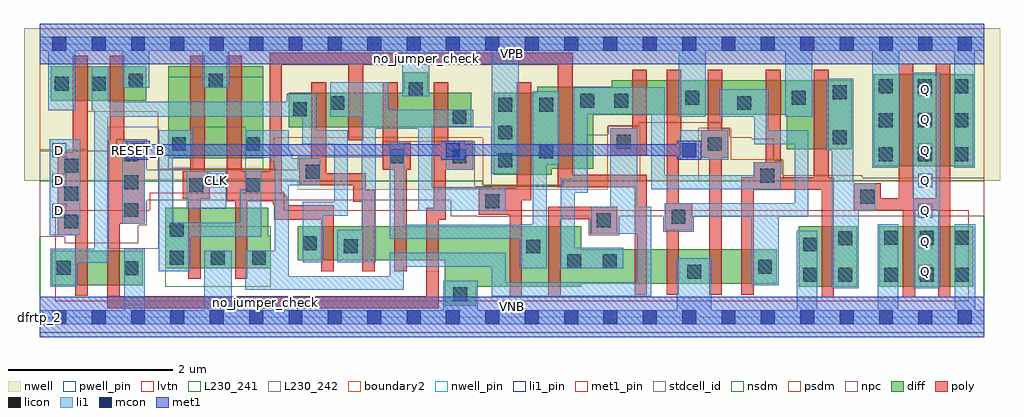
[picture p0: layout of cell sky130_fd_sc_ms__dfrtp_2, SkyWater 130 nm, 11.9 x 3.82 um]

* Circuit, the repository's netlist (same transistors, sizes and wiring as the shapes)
* Copyright 2020 The SkyWater PDK Authors
*
* Licensed under the Apache License, Version 2.0 (the "License");
* you may not use this file except in compliance with the License.
* You may obtain a copy of the License at
*
*     https://www.apache.org/licenses/LICENSE-2.0
*
* Unless required by applicable law or agreed to in writing, software
* distributed under the License is distributed on an "AS IS" BASIS,
* WITHOUT WARRANTIES OR CONDITIONS OF ANY KIND, either express or implied.
* See the License for the specific language governing permissions and
* limitations under the License.
*
* SPDX-License-Identifier: Apache-2.0

.SUBCKT sky130_fd_sc_ms__dfrtp_2 CLK D RESET_B VGND VNB VPB VPWR Q
*.PININFO CLK:I D:I RESET_B:I VGND:I VNB:I VPB:I VPWR:I Q:O
MI46 clkpos clkneg VGND VNB sky130_fd_pr__nfet_01v8_lvt m=1 w=0.74U l=0.15U mult=1
+ sa=0.265 sb=0.265 sd=0.28 area=0.063 perim=1.14
MI42 db clkneg M0 VNB sky130_fd_pr__nfet_01v8_lvt m=1 w=0.42U l=0.15U mult=1 sa=0.265
+ sb=0.265 sd=0.28 area=0.063 perim=1.14
MI656 net108 s0 net74 VNB sky130_fd_pr__nfet_01v8_lvt m=1 w=0.42U l=0.15U mult=1
+ sa=0.265 sb=0.265 sd=0.28 area=0.063 perim=1.14
MI657 net74 RESET_B VGND VNB sky130_fd_pr__nfet_01v8_lvt m=1 w=0.42U l=0.15U mult=1
+ sa=0.265 sb=0.265 sd=0.28 area=0.063 perim=1.14
MI33 net83 RESET_B VGND VNB sky130_fd_pr__nfet_01v8_lvt m=1 w=0.42U l=0.15U mult=1
+ sa=0.265 sb=0.265 sd=0.28 area=0.063 perim=1.14
MI4 M0 clkpos net91 VNB sky130_fd_pr__nfet_01v8_lvt m=1 w=0.42U l=0.15U mult=1
+ sa=0.265 sb=0.265 sd=0.28 area=0.063 perim=1.14
MI34 net91 M1 net83 VNB sky130_fd_pr__nfet_01v8_lvt m=1 w=0.42U l=0.15U mult=1
+ sa=0.265 sb=0.265 sd=0.28 area=0.063 perim=1.14
MI655 s0 clkneg net107 VNB sky130_fd_pr__nfet_01v8_lvt m=1 w=0.42U l=0.15U mult=1
+ sa=0.265 sb=0.265 sd=0.28 area=0.063 perim=1.14
MI652 net167 s0 VGND VNB sky130_fd_pr__nfet_01v8_lvt m=1 w=0.74U l=0.15U mult=1
+ sa=0.265 sb=0.265 sd=0.28 area=0.063 perim=1.14
MI653 Q net167 VGND VNB sky130_fd_pr__nfet_01v8_lvt m=2 w=0.74U l=0.15U mult=1
+ sa=0.265 sb=0.265 sd=0.28 area=0.063 perim=1.14
MI654 net107 net108 VGND VNB sky130_fd_pr__nfet_01v8_lvt m=1 w=0.42U l=0.15U mult=1
+ sa=0.265 sb=0.265 sd=0.28 area=0.063 perim=1.14
MI44 clkneg CLK VGND VNB sky130_fd_pr__nfet_01v8_lvt m=1 w=0.74U l=0.15U mult=1
+ sa=0.265 sb=0.265 sd=0.28 area=0.063 perim=1.14
MI647 M1 M0 VGND VNB sky130_fd_pr__nfet_01v8_lvt m=1 w=0.74U l=0.15U mult=1 sa=0.265
+ sb=0.265 sd=0.28 area=0.063 perim=1.14
MI39 db D net123 VNB sky130_fd_pr__nfet_01v8_lvt m=1 w=0.42U l=0.15U mult=1 sa=0.265
+ sb=0.265 sd=0.28 area=0.063 perim=1.14
MI38 net123 RESET_B VGND VNB sky130_fd_pr__nfet_01v8_lvt m=1 w=0.42U l=0.15U mult=1
+ sa=0.265 sb=0.265 sd=0.28 area=0.063 perim=1.14
MI649 M1 clkpos s0 VNB sky130_fd_pr__nfet_01v8_lvt m=1 w=0.74U l=0.15U mult=1 sa=0.265
+ sb=0.265 sd=0.28 area=0.063 perim=1.14
MI47 clkpos clkneg VPWR VPB sky130_fd_pr__pfet_01v8 m=1 w=1.12U l=0.18U mult=1
+ sa=0.265 sb=0.265 sd=0.28 area=0.063 perim=1.14
MI43 db clkpos M0 VPB sky130_fd_pr__pfet_01v8 m=1 w=0.42U l=0.18U mult=1 sa=0.265
+ sb=0.265 sd=0.28 area=0.063 perim=1.14
MI662 net139 net108 VPWR VPB sky130_fd_pr__pfet_01v8 m=1 w=0.42U l=0.18U mult=1
+ sa=0.265 sb=0.265 sd=0.28 area=0.063 perim=1.14
MI659 net108 RESET_B VPWR VPB sky130_fd_pr__pfet_01v8 m=1 w=0.42U l=0.18U mult=1
+ sa=0.265 sb=0.265 sd=0.28 area=0.063 perim=1.14
MI664 s0 clkpos net139 VPB sky130_fd_pr__pfet_01v8 m=1 w=0.42U l=0.18U mult=1 sa=0.265
+ sb=0.265 sd=0.28 area=0.063 perim=1.14
MI658 net108 s0 VPWR VPB sky130_fd_pr__pfet_01v8 m=1 w=0.42U l=0.18U mult=1 sa=0.265
+ sb=0.265 sd=0.28 area=0.063 perim=1.14
MI30 net158 M1 VPWR VPB sky130_fd_pr__pfet_01v8 m=1 w=0.42U l=0.18U mult=1 sa=0.265
+ sb=0.265 sd=0.28 area=0.063 perim=1.14
MI31 M0 clkneg net158 VPB sky130_fd_pr__pfet_01v8 m=1 w=0.42U l=0.18U mult=1 sa=0.265
+ sb=0.265 sd=0.28 area=0.063 perim=1.14
MI32 M0 RESET_B VPWR VPB sky130_fd_pr__pfet_01v8 m=1 w=0.42U l=0.18U mult=1 sa=0.265
+ sb=0.265 sd=0.28 area=0.063 perim=1.14
MI663 net167 s0 VPWR VPB sky130_fd_pr__pfet_01v8 m=1 w=0.84U l=0.18U mult=1 sa=0.265
+ sb=0.265 sd=0.28 area=0.063 perim=1.14
MI660 Q net167 VPWR VPB sky130_fd_pr__pfet_01v8 m=2 w=1.12U l=0.18U mult=1 sa=0.265
+ sb=0.265 sd=0.28 area=0.063 perim=1.14
MI45 clkneg CLK VPWR VPB sky130_fd_pr__pfet_01v8 m=1 w=1.12U l=0.18U mult=1 sa=0.265
+ sb=0.265 sd=0.28 area=0.063 perim=1.14
MI648 M1 M0 VPWR VPB sky130_fd_pr__pfet_01v8 m=1 w=1.0U l=0.18U mult=1 sa=0.265
+ sb=0.265 sd=0.28 area=0.063 perim=1.14
MI41 db RESET_B VPWR VPB sky130_fd_pr__pfet_01v8 m=1 w=0.42U l=0.18U mult=1 sa=0.265
+ sb=0.265 sd=0.28 area=0.063 perim=1.14
MI40 db D VPWR VPB sky130_fd_pr__pfet_01v8 m=1 w=0.42U l=0.18U mult=1 sa=0.265
+ sb=0.265 sd=0.28 area=0.063 perim=1.14
MI650 M1 clkneg s0 VPB sky130_fd_pr__pfet_01v8 m=1 w=1.0U l=0.18U mult=1 sa=0.265
+ sb=0.265 sd=0.28 area=0.063 perim=1.14
.ENDS sky130_fd_sc_ms__dfrtp_2

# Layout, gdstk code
import gdstk
lib = gdstk.Library(unit=1e-6, precision=1e-09)
def R(c, l, rs):  # rectangles x0, y0, x1, y1
    for r in rs: c.add(gdstk.rectangle(r[:2], r[2:], *l))
def A(c, l, x, y, w, h, nx, ny, dx, dy):  # array of equal rectangles
    R(c, l, [(x+i*dx, y+j*dy, x+i*dx+w, y+j*dy+h) for i in range(nx) for j in range(ny)])
def P(c, l, *ps):  # polygons
    for p in ps: c.add(gdstk.Polygon(p, *l))
nwell_pin = (64, 16)
nwell = (64, 20)
diff = (65, 20)
poly = (66, 20)
licon = (66, 44)
li1_pin = (67, 16)
li1 = (67, 20)
mcon = (67, 44)
met1_pin = (68, 16)
met1 = (68, 20)
stdcell_id = (81, 4)
nsdm = (93, 44)
psdm = (94, 20)
npc = (95, 20)
pwell_pin = (122, 16)
lvtn = (125, 44)
L230_241 = (230, 241)
L230_242 = (230, 242)
boundary2 = (236, 0)

sky130_fd_sc_ms__dfrtp_2 = lib.new_cell('sky130_fd_sc_ms__dfrtp_2')
R(sky130_fd_sc_ms__dfrtp_2, nwell_pin, [(0,3.085,11.52,3.33)])
P(sky130_fd_sc_ms__dfrtp_2, nwell, [(11.71,3.52),(-0.19,3.52),(-0.19,1.66),(1.29,1.66),(1.29,1.675),(3.145,1.675),(3.145,1.555),(6.93,1.555),(6.93,1.66),(11.71,1.66)])
R(sky130_fd_sc_ms__dfrtp_2, diff, [(9.255,0.37,9.97,1.11), (10.24,0.37,11.385,1.11), (0.15,0.39,1.26,0.81), (10.17,1.84,11.385,2.96), (1.57,1.935,2.73,3.055), (0.135,2.635,1.3,3.055)])
P(sky130_fd_sc_ms__dfrtp_2, diff, [(9.9,2.885),(6.975,2.885),(6.975,2.81),(6.07,2.81),(6.07,2.735),(5.535,2.735),(5.535,1.735),(6.245,1.735),(6.245,1.81),(6.75,1.81),(6.75,2.465),(9.11,2.465),(9.11,2.045),(9.9,2.045)],
  [(2.82,0.99),(2.785,0.99),(2.785,1.335),(1.53,1.335),(1.53,0.595),(2.82,0.595)],
  [(5.265,2.735),(4.73,2.735),(4.73,2.985),(4.44,2.985),(4.44,2.735),(3.04,2.735),(3.04,2.315),(5.265,2.315)],
  [(8.985,0.825),(6.605,0.825),(6.605,1.11),(3.15,1.11),(3.15,0.69),(4.94,0.69),(4.94,0.135),(5.325,0.135),(5.325,0.37),(6.605,0.37),(6.605,0.405),(8.985,0.405)])
P(sky130_fd_sc_ms__dfrtp_2, poly, [(8.395,2.275),(8.325,2.275),(8.325,3.015),(8.145,3.015),(8.145,2.275),(8.065,2.275),(8.065,1.945),(8.165,1.945),(8.165,0.275),(8.315,0.275),(8.315,1.945),(8.395,1.945)],
  [(7.955,1.39),(7.795,1.39),(7.795,1.975),(7.825,1.975),(7.825,3.015),(7.645,3.015),(7.645,1.39),(7.625,1.39),(7.625,1.06),(7.645,1.06),(7.645,0.275),(7.795,0.275),(7.795,1.06),(7.955,1.06)],
  [(7.405,1.735),(6.5,1.735),(6.5,3.225),(2.805,3.225),(2.805,1.775),(2.465,1.775),(2.465,3.185),(2.285,3.185),(2.285,1.41),(2.385,1.41),(2.385,0.465),(2.535,0.465),(2.535,1.41),(2.84,1.41),(2.84,1.39),(2.85,1.39),(2.85,1.375),(2.855,1.375),(2.855,1.365),(2.86,1.365),(2.86,1.185),(3.435,1.185),(3.435,0.56),(3.585,0.56),(3.585,1.365),(3.04,1.365),(3.04,1.45),(3.015,1.45),(3.015,1.48),(2.995,1.48),(2.995,1.505),(2.98,1.505),(2.98,1.53),(2.955,1.53),(2.955,3.075),(3.765,3.075),(3.765,2.155),(3.945,2.155),(3.945,3.075),(6.32,3.075),(6.32,1.585),(7.255,1.585),(7.255,0.275),(7.405,0.275)],
  [(11.105,3.09),(10.925,3.09),(10.925,1.45),(10.655,1.45),(10.655,3.09),(10.475,3.09),(10.475,1.45),(10.255,1.45),(10.255,1.63),(9.925,1.63),(9.925,1.3),(10.525,1.3),(10.525,0.24),(10.675,0.24),(10.675,1.3),(10.955,1.3),(10.955,0.24),(11.105,0.24)],
  [(9.685,1.705),(9.62,1.705),(9.62,3.015),(9.44,3.015),(9.44,1.705),(9.035,1.705),(9.035,3.015),(8.855,3.015),(8.855,1.89),(8.705,1.89),(8.705,1.705),(8.555,1.705),(8.555,0.275),(8.705,0.275),(8.705,1.555),(9.535,1.555),(9.535,0.24),(9.685,0.24)],
  [(0.585,3.185),(0.405,3.185),(0.405,2.01),(0.22,2.01),(0.22,1),(0.435,1),(0.435,0.26),(0.585,0.26)],
  [(2.075,1.775),(2.015,1.775),(2.015,3.185),(1.835,3.185),(1.835,1.775),(1.745,1.775),(1.745,1.445),(1.815,1.445),(1.815,0.465),(1.965,0.465),(1.965,1.445),(2.075,1.445)],
  [(4.085,1.555),(3.975,1.555),(3.975,1.755),(3.495,1.755),(3.495,2.865),(3.315,2.865),(3.315,1.935),(3.165,1.935),(3.165,1.63),(3.185,1.63),(3.185,1.605),(3.825,1.605),(3.825,1.405),(3.935,1.405),(3.935,0.56),(4.085,0.56)],
  [(4.525,2.125),(4.365,2.125),(4.365,2.865),(4.185,2.865),(4.185,1.795),(4.325,1.795),(4.325,0.56),(4.475,0.56),(4.475,1.795),(4.525,1.795)],
  [(5.285,2.125),(4.985,2.125),(4.985,2.865),(4.805,2.865),(4.805,1.335),(4.715,1.335),(4.715,0.255),(0.975,0.255),(0.975,1.14),(1.285,1.14),(1.285,2.15),(1.035,2.15),(1.035,3.185),(0.855,3.185),(0.855,2.15),(0.825,2.15),(0.825,0.105),(4.865,0.105),(4.865,1.185),(4.955,1.185),(4.955,1.795),(5.285,1.795)],
  [(5.995,2.865),(5.815,2.865),(5.815,1.575),(5.355,1.575),(5.355,1.245),(5.73,1.245),(5.73,0.24),(5.88,0.24),(5.88,1.425),(5.995,1.425)],
  [(7.045,1.345),(6.205,1.345),(6.205,0.24),(6.355,0.24),(6.355,1.195),(6.715,1.195),(6.715,1.015),(7.045,1.015)],
  [(7.405,3.015),(7.225,3.015),(7.225,2.305),(6.955,2.305),(6.955,1.975),(7.405,1.975)])
A(sky130_fd_sc_ms__dfrtp_2, licon, 10.3, 0.43, 0.17, 0.17, 3, 2, 0.43, 0.45)
A(sky130_fd_sc_ms__dfrtp_2, licon, 1.59, 0.64, 0.17, 0.17, 3, 1, 0.5, 0)
A(sky130_fd_sc_ms__dfrtp_2, licon, 0.3, 1.08, 0.17, 0.17, 1, 3, 0, 0.34)
A(sky130_fd_sc_ms__dfrtp_2, licon, 1.035, 1.22, 0.17, 0.17, 1, 3, 0, 0.34)
A(sky130_fd_sc_ms__dfrtp_2, licon, 5.595, 1.825, 0.17, 0.17, 1, 3, 0, 0.34)
A(sky130_fd_sc_ms__dfrtp_2, licon, 10.23, 1.9, 0.17, 0.17, 1, 3, 0, 0.415)
A(sky130_fd_sc_ms__dfrtp_2, licon, 10.705, 1.9, 0.17, 0.17, 1, 3, 0, 0.415)
A(sky130_fd_sc_ms__dfrtp_2, licon, 11.155, 1.9, 0.17, 0.17, 1, 3, 0, 0.415)
R(sky130_fd_sc_ms__dfrtp_2, licon, [(5.045,0.195,5.215,0.365), (9.31,0.43,9.48,0.6), (9.74,0.43,9.91,0.6), (7.895,0.465,8.065,0.635), (1.03,0.51,1.2,0.68), (0.21,0.515,0.38,0.685), (8.76,0.53,8.93,0.7), (6.435,0.595,6.605,0.765), (6.865,0.595,7.035,0.765), (5.935,0.775,6.105,0.945), (3.71,0.78,3.88,0.95), (9.31,0.8,9.48,0.97), (3.21,0.815,3.38,0.985), (9.74,0.875,9.91,1.045), (1.59,0.98,1.76,1.15), (6.795,1.095,6.965,1.265), (7.705,1.14,7.875,1.31), (5.435,1.325,5.605,1.495), (10.005,1.38,10.175,1.55), (1.825,1.525,1.995,1.695), (2.515,1.525,2.685,1.695), (8.785,1.64,8.955,1.81), (3.245,1.685,3.415,1.855), (4.275,1.875,4.445,2.045), (5.035,1.875,5.205,2.045), (6.095,1.935,6.265,2.105), (1.615,2.025,1.785,2.195), (2.515,2.025,2.685,2.195), (8.145,2.025,8.315,2.195), (7.035,2.055,7.205,2.225), (9.67,2.11,9.84,2.28), (5.035,2.355,5.205,2.525), (3.09,2.45,3.26,2.62), (6.095,2.505,6.265,2.675), (3.545,2.525,3.715,2.695), (8.505,2.525,8.675,2.695), (6.595,2.555,6.765,2.725), (7.005,2.555,7.175,2.725), (7.875,2.59,8.045,2.76), (9.17,2.59,9.34,2.76), (9.67,2.655,9.84,2.825), (4.5,2.695,4.67,2.865), (0.185,2.76,0.355,2.93), (0.635,2.76,0.805,2.93), (1.085,2.795,1.255,2.965), (2.065,2.795,2.235,2.965)])
A(sky130_fd_sc_ms__dfrtp_2, li1_pin, 10.715, 0.47, 0.17, 0.17, 1, 7, 0, 0.37)
A(sky130_fd_sc_ms__dfrtp_2, li1_pin, 0.155, 1.21, 0.17, 0.17, 1, 3, 0, 0.37)
R(sky130_fd_sc_ms__dfrtp_2, li1_pin, [(2.075,1.58,2.245,1.75)])
R(sky130_fd_sc_ms__dfrtp_2, li1, [(10.65,0.35,10.98,2.98), (0.125,1,0.495,2.17), (1.005,1.14,1.285,2.15), (4.955,1.795,5.285,2.15), (7.805,1.92,8.395,2.275)])
P(sky130_fd_sc_ms__dfrtp_2, li1, [(9.035,1.89),(8.705,1.89),(8.705,1.73),(7.625,1.73),(7.625,2.805),(6.515,2.805),(6.515,1.685),(6.355,1.685),(6.355,0.595),(7.115,0.595),(7.115,0.845),(6.525,0.845),(6.525,1.515),(6.685,1.515),(6.685,2.475),(7.455,2.475),(7.455,1.56),(9.035,1.56)],
  [(11.52,3.415),(0,3.415),(0,3.245),(0.105,3.245),(0.105,2.52),(0.435,2.52),(0.435,3.245),(1.005,3.245),(1.005,2.795),(1.335,2.795),(1.335,3.245),(1.985,3.245),(1.985,2.795),(2.315,2.795),(2.315,3.245),(4.42,3.245),(4.42,2.695),(4.75,2.695),(4.75,3.245),(5.515,3.245),(5.515,1.745),(5.845,1.745),(5.845,3.245),(7.795,3.245),(7.795,2.445),(8.125,2.445),(8.125,3.245),(9.09,3.245),(9.09,2.445),(9.42,2.445),(9.42,3.245),(10.15,3.245),(10.15,1.82),(10.48,1.82),(10.48,3.245),(11.155,3.245),(11.155,1.82),(11.405,1.82),(11.405,3.245),(11.52,3.245)],
  [(2.275,1.78),(2.045,1.78),(2.045,1.775),(1.795,1.775),(1.795,1.32),(2.275,1.32)],
  [(2.7,1.775),(2.515,1.775),(2.515,1.55),(2.445,1.55),(2.445,1.15),(1.625,1.15),(1.625,1.945),(1.865,1.945),(1.865,2.275),(1.455,2.275),(1.455,0.56),(1.84,0.56),(1.84,0.98),(2.7,0.98)],
  [(3.76,2.275),(3.375,2.275),(3.375,2.725),(3.015,2.725),(3.015,2.625),(0.835,2.625),(0.835,3.055),(0.635,3.055),(0.635,2.52),(0.665,2.52),(0.665,0.83),(0.13,0.83),(0.13,0.37),(0.46,0.37),(0.46,0.66),(0.835,0.66),(0.835,2.445),(3.205,2.445),(3.205,2.105),(3.59,2.105),(3.59,1.405),(3.21,1.405),(3.21,0.67),(3.46,0.67),(3.46,1.235),(3.76,1.235)],
  [(5.685,1.575),(4.785,1.575),(4.785,2.32),(5.285,2.32),(5.285,2.525),(4.25,2.525),(4.25,2.86),(3.545,2.86),(3.545,2.445),(3.93,2.445),(3.93,1.065),(3.63,1.065),(3.63,0.67),(4.1,0.67),(4.1,2.295),(4.615,2.295),(4.615,1.295),(5.685,1.295)],
  [(6.345,2.755),(6.015,2.755),(6.015,1.13),(5.855,1.13),(5.855,1.125),(4.445,1.125),(4.445,2.125),(4.27,2.125),(4.27,0.955),(5.855,0.955),(5.855,0.595),(6.185,0.595),(6.185,1.855),(6.345,1.855)],
  [(11.52,0.085),(11.41,0.085),(11.41,1.13),(11.16,1.13),(11.16,0.085),(10.47,0.085),(10.47,1.13),(10.22,1.13),(10.22,0.085),(9.48,0.085),(9.48,1.05),(9.23,1.05),(9.23,0.085),(8.19,0.085),(8.19,0.715),(7.77,0.715),(7.77,0.085),(5.345,0.085),(5.345,0.445),(4.92,0.445),(4.92,0.085),(2.34,0.085),(2.34,0.81),(2.01,0.81),(2.01,0.085),(1.28,0.085),(1.28,0.83),(1.03,0.83),(1.03,0.085),(0,0.085),(0,-0.085),(11.52,-0.085)],
  [(10.19,1.63),(9.92,1.63),(9.92,2.905),(9.59,2.905),(9.59,2.03),(9.66,2.03),(9.66,0.35),(9.99,0.35),(9.99,1.3),(10.19,1.3)],
  [(7.455,1.345),(7.285,1.345),(7.285,2.305),(6.955,2.305),(6.955,1.345),(6.725,1.345),(6.725,1.015),(7.285,1.015),(7.285,0.425),(5.685,0.425),(5.685,0.785),(4.27,0.785),(4.27,0.5),(3.04,0.5),(3.04,1.605),(3.42,1.605),(3.42,1.935),(3.08,1.935),(3.08,1.985),(3.055,1.985),(3.055,2.025),(3.035,2.025),(3.035,2.275),(2.515,2.275),(2.515,1.945),(2.825,1.945),(2.825,1.895),(2.85,1.895),(2.85,1.855),(2.87,1.855),(2.87,0.81),(2.51,0.81),(2.51,0.33),(4.44,0.33),(4.44,0.615),(5.515,0.615),(5.515,0.255),(7.455,0.255)],
  [(9.375,2.275),(8.885,2.275),(8.885,2.775),(8.295,2.775),(8.295,2.445),(8.715,2.445),(8.715,2.105),(9.205,2.105),(9.205,1.39),(7.625,1.39),(7.625,1.06),(7.955,1.06),(7.955,1.22),(8.68,1.22),(8.68,0.385),(9.01,0.385),(9.01,1.22),(9.375,1.22)])
A(sky130_fd_sc_ms__dfrtp_2, mcon, 0.155, -0.085, 0.17, 0.17, 24, 2, 0.48, 3.33)
R(sky130_fd_sc_ms__dfrtp_2, mcon, [(1.115,1.95,1.285,2.12), (4.955,1.95,5.125,2.12), (7.835,1.95,8.005,2.12)])
R(sky130_fd_sc_ms__dfrtp_2, met1_pin, [(0,0,11.52,0.245), (1.115,1.95,1.285,2.12), (0,3.085,11.52,3.33)])
R(sky130_fd_sc_ms__dfrtp_2, met1, [(0,-0.245,11.52,0.245), (0,3.085,11.52,3.575)])
P(sky130_fd_sc_ms__dfrtp_2, met1, [(1.345,2.105),(4.895,2.105),(4.895,2.15),(5.185,2.15),(5.185,2.105),(7.775,2.105),(7.775,2.15),(8.065,2.15),(8.065,1.92),(7.775,1.92),(7.775,1.965),(5.185,1.965),(5.185,1.92),(4.895,1.92),(4.895,1.965),(1.345,1.965),(1.345,1.92),(1.055,1.92),(1.055,2.15),(1.345,2.15)])
R(sky130_fd_sc_ms__dfrtp_2, stdcell_id, [(0,0,11.52,3.33)])
P(sky130_fd_sc_ms__dfrtp_2, nsdm, [(11.52,1.66),(6.375,1.66),(6.375,1.605),(5.405,1.605),(5.405,1.66),(0,1.66),(0,-0.19),(11.52,-0.19)])
P(sky130_fd_sc_ms__dfrtp_2, psdm, [(11.52,3.52),(0,3.52),(0,2.04),(0.58,2.04),(0.58,2.505),(1.44,2.505),(1.44,1.805),(2.86,1.805),(2.86,2.185),(5.405,2.185),(5.405,1.605),(6.375,1.605),(6.375,1.66),(6.925,1.66),(6.925,2.335),(7.315,2.335),(7.315,1.66),(8.035,1.66),(8.035,2.305),(8.425,2.305),(8.425,1.92),(9.065,1.92),(9.065,1.66),(11.52,1.66)])
P(sky130_fd_sc_ms__dfrtp_2, npc, [(11.52,1.7),(10.03,1.7),(10.03,1.73),(9.055,1.73),(9.055,1.91),(8.95,1.91),(8.95,2.175),(8.68,2.175),(8.68,2.19),(8.415,2.19),(8.415,2.295),(8.31,2.295),(8.31,2.375),(7.305,2.375),(7.305,2.325),(6.935,2.325),(6.935,2.22),(6.67,2.22),(6.67,1.67),(6.385,1.67),(6.385,1.595),(5.305,1.595),(5.305,2.145),(4.175,2.145),(4.175,1.955),(3.145,1.955),(3.145,1.795),(1.305,1.795),(1.305,2.17),(0.935,2.17),(0.935,2.03),(0,2.03),(0,0.98),(0.305,0.98),(0.305,0.9),(1.2,0.9),(1.2,1.12),(1.305,1.12),(1.305,1.425),(5.015,1.425),(5.015,1.23),(5.335,1.23),(5.335,1.225),(5.705,1.225),(5.705,1.23),(6.695,1.23),(6.695,0.995),(7.065,0.995),(7.065,1.23),(7.605,1.23),(7.605,1.04),(7.975,1.04),(7.975,1.23),(11.52,1.23)])
R(sky130_fd_sc_ms__dfrtp_2, pwell_pin, [(0,0,11.52,0.245)])
P(sky130_fd_sc_ms__dfrtp_2, lvtn, [(11.33,1.3),(2.985,1.3),(2.985,1.515),(1.345,1.515),(1.345,1.3),(0.19,1.3),(0.19,0.19),(11.33,0.19)])
R(sky130_fd_sc_ms__dfrtp_2, L230_241, [(1.53,0.37,2.82,1.11), (1.005,1.14,1.285,2.15), (4.955,1.795,5.285,2.15), (1.57,1.81,2.73,2.93)])
P(sky130_fd_sc_ms__dfrtp_2, L230_241, [(2.045,1.65),(2.045,1.78),(2.275,1.78),(2.275,1.32),(1.795,1.32),(1.795,1.65)])
R(sky130_fd_sc_ms__dfrtp_2, L230_242, [(0.835,0.83,1.455,2.32), (4.785,1.575,5.515,2.32)])
P(sky130_fd_sc_ms__dfrtp_2, L230_242, [(0.825,0.26),(0.825,0.105),(4.865,0.105),(4.865,0.56),(4.715,0.56),(4.715,0.255),(0.975,0.255),(0.975,0.26)],
  [(2.515,2.32),(1.865,2.32),(1.865,1.82),(1.625,1.82),(1.625,1.15),(2.445,1.15),(2.445,1.55),(2.515,1.55)])
R(sky130_fd_sc_ms__dfrtp_2, boundary2, [(0,0,11.52,3.33)])
sky130_fd_sc_ms__dfrtp_2.add(gdstk.Label('VNB', (5.76,0.123), layer=64, texttype=59))
sky130_fd_sc_ms__dfrtp_2.add(gdstk.Label('VPB', (5.76,3.208), layer=64, texttype=5))
sky130_fd_sc_ms__dfrtp_2.add(gdstk.Label('dfrtp_2', (0,0), layer=83, texttype=44))
sky130_fd_sc_ms__dfrtp_2.add(gdstk.Label('no_jumper_check', (4.715,3.15), layer=83, texttype=44))
sky130_fd_sc_ms__dfrtp_2.add(gdstk.Label('no_jumper_check', (2.76,0.18), layer=83, texttype=44))
sky130_fd_sc_ms__dfrtp_2.add(gdstk.Label('RESET_B', (1.2,2.035), layer=68, texttype=5))
sky130_fd_sc_ms__dfrtp_2.add(gdstk.Label('VPWR', (5.76,3.208), layer=68, texttype=5))
sky130_fd_sc_ms__dfrtp_2.add(gdstk.Label('VGND', (5.76,0.123), layer=68, texttype=5))
sky130_fd_sc_ms__dfrtp_2.add(gdstk.Label('D', (0.24,1.295), layer=67, texttype=5))
sky130_fd_sc_ms__dfrtp_2.add(gdstk.Label('D', (0.24,1.665), layer=67, texttype=5))
sky130_fd_sc_ms__dfrtp_2.add(gdstk.Label('D', (0.24,2.035), layer=67, texttype=5))
sky130_fd_sc_ms__dfrtp_2.add(gdstk.Label('CLK', (2.16,1.665), layer=67, texttype=5))
sky130_fd_sc_ms__dfrtp_2.add(gdstk.Label('Q', (10.8,0.555), layer=67, texttype=5))
sky130_fd_sc_ms__dfrtp_2.add(gdstk.Label('Q', (10.8,0.925), layer=67, texttype=5))
sky130_fd_sc_ms__dfrtp_2.add(gdstk.Label('Q', (10.8,1.295), layer=67, texttype=5))
sky130_fd_sc_ms__dfrtp_2.add(gdstk.Label('Q', (10.8,1.665), layer=67, texttype=5))
sky130_fd_sc_ms__dfrtp_2.add(gdstk.Label('Q', (10.8,2.035), layer=67, texttype=5))
sky130_fd_sc_ms__dfrtp_2.add(gdstk.Label('Q', (10.8,2.405), layer=67, texttype=5))
sky130_fd_sc_ms__dfrtp_2.add(gdstk.Label('Q', (10.8,2.775), layer=67, texttype=5))

lib.write_gds('sky130_fd_sc_ms__dfrtp_2.gds')
